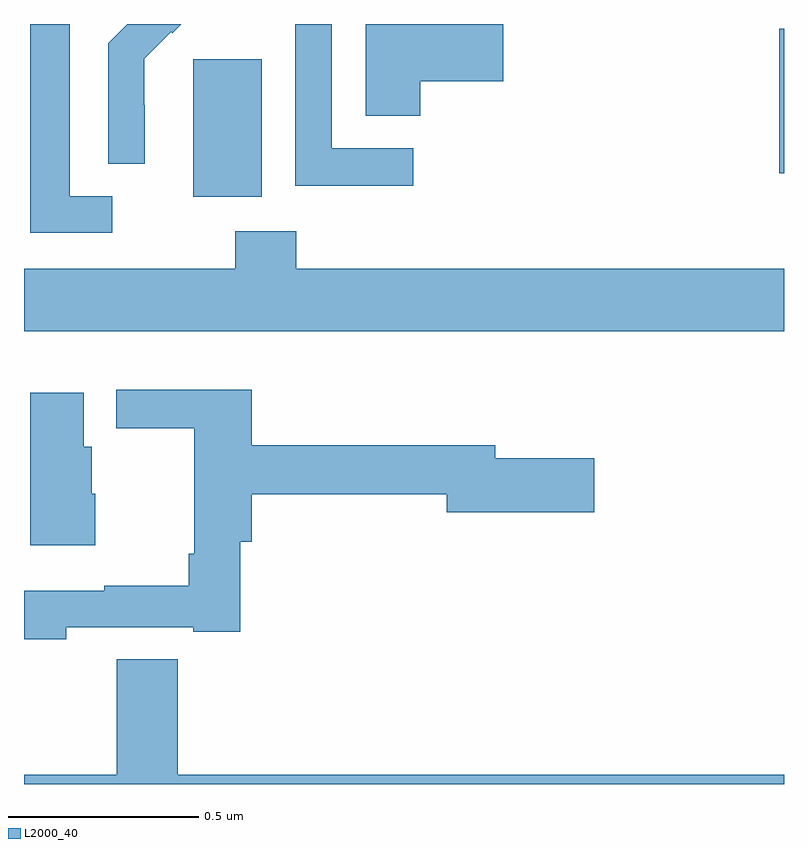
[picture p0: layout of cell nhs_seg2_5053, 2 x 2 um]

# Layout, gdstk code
import gdstk
lib = gdstk.Library(unit=1e-6, precision=1e-09)
def R(c, l, rs):  # rectangles x0, y0, x1, y1
    for r in rs: c.add(gdstk.rectangle(r[:2], r[2:], *l))
def P(c, l, *ps):  # polygons
    for p in ps: c.add(gdstk.Polygon(p, *l))
L2000_40 = (2000, 40)

nhs_seg2_5053 = lib.new_cell('nhs_seg2_5053')
R(nhs_seg2_5053, L2000_40, [(174.446,625.346,174.625,625.707), (175.988,625.407,176,625.788)])
P(nhs_seg2_5053, L2000_40, [(174.318,625.586),(174.317,625.586),(174.317,625.709),(174.387,625.779),(174.39,625.776),(174.414,625.8),(174.272,625.8),(174.222,625.75),(174.222,625.432),(174.318,625.432)],
  [(175.024,625.473),(174.81,625.473),(174.81,625.8),(174.714,625.8),(174.714,625.375),(175.024,625.375)],
  [(174.232,625.347),(174.121,625.347),(174.121,625.8),(174.017,625.8),(174.017,625.251),(174.232,625.251)],
  [(175.043,625.649),(175.261,625.649),(175.261,625.8),(174.899,625.8),(174.899,625.558),(175.043,625.558)],
  [(176,625.156),(174.716,625.156),(174.716,625.255),(174.556,625.255),(174.556,625.156),(174,625.156),(174,624.992),(176,624.992)],
  [(174.111,624.213),(174.446,624.213),(174.446,624.201),(174.569,624.201),(174.569,624.437),(174.599,624.437),(174.599,624.562),(175.112,624.562),(175.112,624.515),(175.501,624.515),(175.501,624.657),(175.24,624.657),(175.24,624.691),(174.599,624.691),(174.599,624.838),(174.243,624.838),(174.243,624.736),(174.448,624.736),(174.448,624.406),(174.433,624.406),(174.433,624.322),(174.211,624.322),(174.211,624.309),(174,624.309),(174,624.181),(174.111,624.181)],
  [(174.187,624.564),(174.178,624.564),(174.178,624.687),(174.157,624.687),(174.157,624.829),(174.017,624.829),(174.017,624.428),(174.187,624.428)],
  [(176,623.824),(174.404,623.824),(174.404,624.128),(174.244,624.128),(174.244,623.824),(174,623.824),(174,623.8),(176,623.8)])

lib.write_gds('nhs_seg2_5053.gds')
